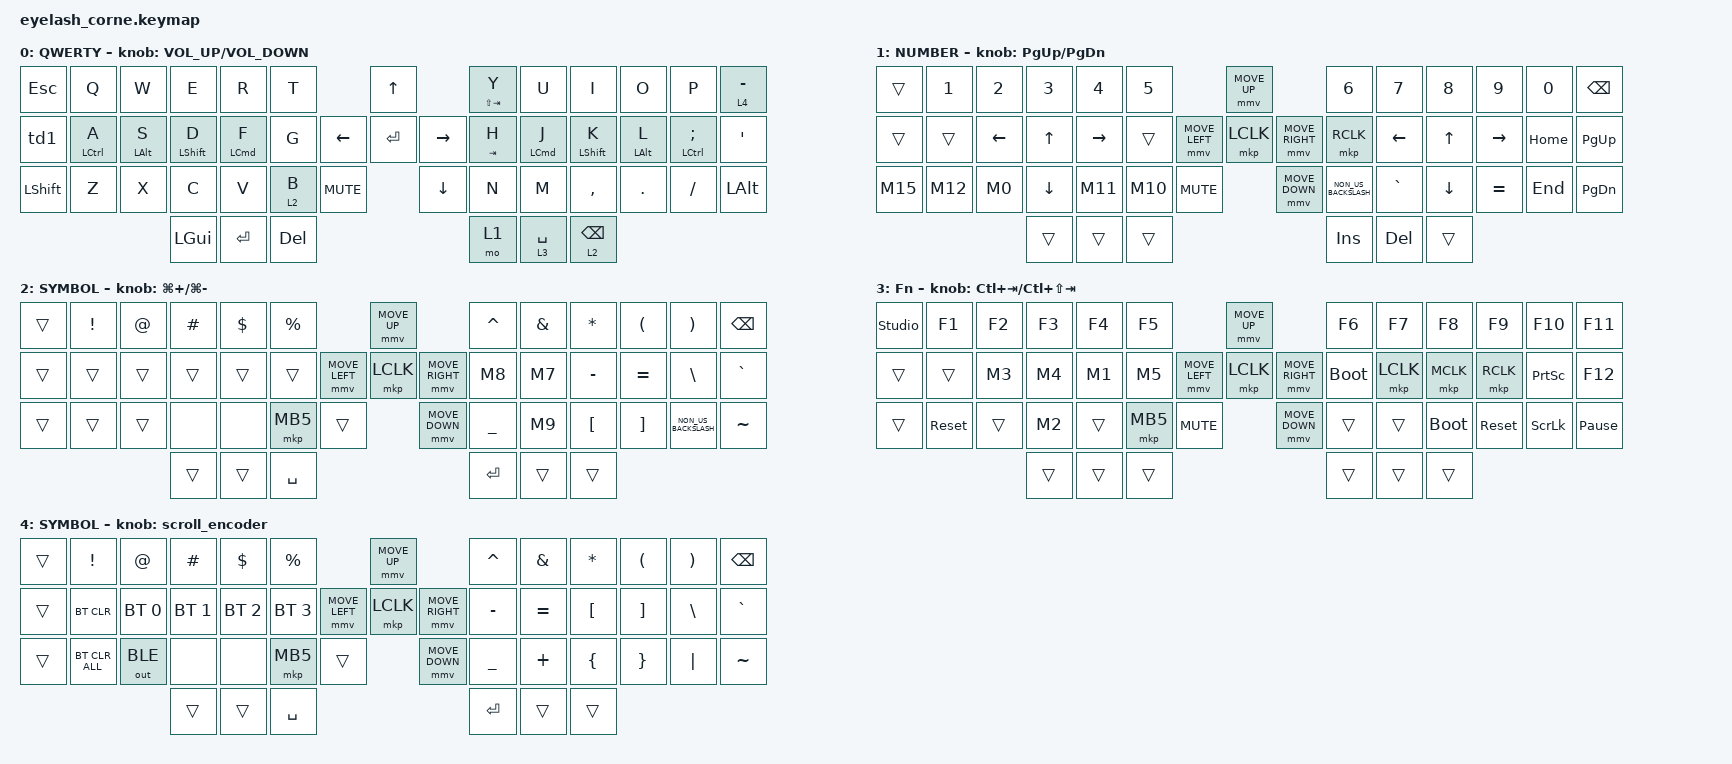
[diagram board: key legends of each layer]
#define ZMK_POINTING_DEFAULT_MOVE_VAL 1200  // 600
#define ZMK_POINTING_DEFAULT_SCRL_VAL 25   // 10

#include <input/processors.dtsi>
#include <zephyr/dt-bindings/input/input-event-codes.h>
#include <behaviors.dtsi>
#include <dt-bindings/zmk/bt.h>
#include <dt-bindings/zmk/keys.h>
#include <dt-bindings/zmk/outputs.h>
#include <dt-bindings/zmk/pointing.h>
#include <dt-bindings/zmk/rgb.h>

&mmv_input_listener { input-processors = <&zip_xy_scaler 2 1>; };

&msc_input_listener { input-processors = <&zip_scroll_scaler 2 1>; };

&msc {
    acceleration-exponent = <1>;      // 0
    time-to-max-speed-ms = <100>;       // 300
    delay-ms = <0>;                   // 0
};

&mmv {
    time-to-max-speed-ms = <500>;
    acceleration-exponent = <1>;
    trigger-period-ms = <16>;
};

&mt { flavor = "tap-preferred"; };

/ {
    behaviors {
        td0: td0 {
            compatible = "zmk,behavior-tap-dance";
            display-name = "Shift/Caps Lock Tap Dance";
            #binding-cells = <0>;
            bindings = <&kp LEFT_SHIFT>, <&kp CAPS>;
        };

        td1: td1 {
            compatible = "zmk,behavior-tap-dance";
            display-name = "Shift/Caps Lock Tap Dance";
            #binding-cells = <0>;
            bindings = <&kp TAB>, <&none>, <&none>, <&none>, <&kp CAPS>;

            label = "TD1";
        };
    };

    rgb_encoder: rgb_encoder {
        compatible = "zmk,behavior-sensor-rotate";
        #sensor-binding-cells = <0>;
        bindings = <&rgb_ug RGB_BRI>, <&rgb_ug RGB_BRD>;
    };

    scroll_encoder: scroll_encoder {
        compatible = "zmk,behavior-sensor-rotate";
        #sensor-binding-cells = <0>;
        bindings = <&msc SCRL_DOWN>, <&msc SCRL_UP>;

        tap-ms = <100>;
    };

    combos {
        compatible = "zmk,combos";

        CmdC {
            bindings = <&kp LG(C)>;
            key-positions = <17 16>;
        };

        CmdV {
            bindings = <&kp LG(V)>;
            key-positions = <16 15>;
        };

        CmdZ {
            bindings = <&kp LG(Z)>;
            key-positions = <14 15>;
        };

        CmdSingleBacktick {
            bindings = <&kp LG(GRAVE)>;
            key-positions = <23 24>;
        };
    };

    macros {
        M14: M14 {
            compatible = "zmk,behavior-macro";
            #binding-cells = <0>;
            bindings = <&kp LA(LG(L))>;
            label = "M14";
        };

        M15: M15 {
            compatible = "zmk,behavior-macro";
            #binding-cells = <0>;
            bindings = <&kp LG(LS(D))>;
            label = "M15";
        };

        M12: M12 {
            compatible = "zmk,behavior-macro";
            #binding-cells = <0>;
            bindings = <&kp LG(GRAVE)>;
            label = "M12";
        };

        M0: M0 {
            compatible = "zmk,behavior-macro";
            #binding-cells = <0>;
            bindings = <&kp LS(LC(TAB))>;
            label = "M0";
        };

        M11: M11 {
            compatible = "zmk,behavior-macro";
            #binding-cells = <0>;
            bindings = <&kp LC(UP_ARROW)>;
            label = "M11";
        };

        M8: M8 {
            compatible = "zmk,behavior-macro";
            #binding-cells = <0>;
            bindings = <&kp LC(RC(Y))>;
            label = "M8";
        };

        M7: M7 {
            compatible = "zmk,behavior-macro";
            #binding-cells = <0>;
            bindings = <&kp LC(RC(U))>;
            label = "M7";
        };

        M9: M9 {
            compatible = "zmk,behavior-macro";
            #binding-cells = <0>;
            bindings = <&kp LC(RC(K))>;
            label = "M9";
        };

        M3: M3 {
            compatible = "zmk,behavior-macro";
            #binding-cells = <0>;
            bindings = <&kp LG(LA(LEFT))>;
            label = "M3";
        };

        M4: M4 {
            compatible = "zmk,behavior-macro";
            #binding-cells = <0>;
            bindings = <&kp LG(LA(RIGHT))>;
            label = "M4";
        };

        M2: M2 {
            compatible = "zmk,behavior-macro";
            #binding-cells = <0>;
            bindings = <&kp LG(LS(LC(NUMBER_4)))>;
            label = "M2";
        };

        M1: M1 {
            compatible = "zmk,behavior-macro";
            #binding-cells = <0>;
            bindings = <&kp LG(LC(LA(F)))>;
            label = "M1";
        };

        M5: M5 {
            compatible = "zmk,behavior-macro";
            #binding-cells = <0>;
            bindings = <&kp LA(LC(LG(RIGHT)))>;
            label = "M5";
        };

        M10: M10 {
            compatible = "zmk,behavior-macro";
            #binding-cells = <0>;
            bindings = <&kp LC(DOWN)>;
            label = "M10";
        };
    };

    keymap {
        compatible = "zmk,keymap";

        default_layer {
            display-name = "QWERTY";
            bindings = <
&kp ESC         &kp Q               &kp W           &kp E             &kp R       &kp T                               &kp UP                &mt LS(TAB) Y  &kp U        &kp I             &kp O           &kp P                  &lt 4 MINUS
&td1            &mt LEFT_CONTROL A  &mt LEFT_ALT S  &mt LEFT_SHIFT D  &mt LCMD F  &kp G                     &kp LEFT  &kp ENTER  &kp RIGHT  &mt TAB H      &mt LCMD J   &mt LEFT_SHIFT K  &mt LEFT_ALT L  &mt LEFT_CONTROL SEMI  &kp SQT
&kp LEFT_SHIFT  &kp Z               &kp X           &kp C             &kp V       &lt 2 B     &kp C_MUTE              &kp DOWN              &kp N          &kp M        &kp COMMA         &kp DOT         &kp FSLH               &kp LEFT_ALT
                                                    &kp LGUI          &kp ENTER   &kp DELETE                                                &mo 1          &lt 3 SPACE  &lt 2 BACKSPACE
            >;

            sensor-bindings = <&inc_dec_kp C_VOLUME_UP C_VOLUME_DOWN>;
        };

        lower_layer {
            display-name = "NUMBER";
            bindings = <
&trans  &kp N1  &kp N2    &kp N3        &kp N4     &kp N5                                &mmv MOVE_UP                     &kp N6                &kp N7     &kp N8    &kp N9     &kp N0    &kp BSPC
&trans  &trans  &kp LEFT  &kp UP_ARROW  &kp RIGHT  &trans                &mmv MOVE_LEFT  &mkp LCLK       &mmv MOVE_RIGHT  &mkp RCLK             &kp LEFT   &kp UP    &kp RIGHT  &kp HOME  &kp PG_UP
&M15    &M12    &M0       &kp DOWN      &M11       &M10    &kp C_MUTE                    &mmv MOVE_DOWN                   &kp NON_US_BACKSLASH  &kp GRAVE  &kp DOWN  &kp EQUAL  &kp END   &kp PG_DN
                          &trans        &trans     &trans                                                                 &kp INS               &kp DEL    &trans
            >;

            sensor-bindings = <&inc_dec_kp PG_UP PAGE_DOWN>;
        };

        raise_layer {
            display-name = "SYMBOL";
            bindings = <
&trans  &kp EXCL  &kp AT  &kp HASH  &kp DLLR  &kp PRCNT                            &mmv MOVE_UP                     &kp CARET  &kp AMPS  &kp ASTRK         &kp LPAR           &kp RPAR              &kp BSPC
&trans  &trans    &trans  &trans    &trans    &trans               &mmv MOVE_LEFT  &mkp LCLK       &mmv MOVE_RIGHT  &M8        &M7       &kp MINUS         &kp EQUAL          &kp BSLH              &kp GRAVE
&trans  &trans    &trans  &none     &none     &mkp MB5   &trans                    &mmv MOVE_DOWN                   &kp UNDER  &M9       &kp LEFT_BRACKET  &kp RIGHT_BRACKET  &kp NON_US_BACKSLASH  &kp TILDE
                          &trans    &trans    &kp SPACE                                                             &kp RET    &trans    &trans
            >;

            sensor-bindings = <&inc_dec_kp LG(PLUS) LG(MINUS)>;
        };

        layer_3 {
            display-name = "Fn";
            bindings = <
&studio_unlock  &kp F1      &kp F2  &kp F3  &kp F4  &kp F5                                  &mmv MOVE_UP                     &kp F6       &kp F7     &kp F8       &kp F9      &kp F10          &kp F11
&trans          &trans      &M3     &M4     &M1     &M5                     &mmv MOVE_LEFT  &mkp LCLK       &mmv MOVE_RIGHT  &bootloader  &mkp LCLK  &mkp MCLK    &mkp RCLK   &kp PRINTSCREEN  &kp F12
&trans          &sys_reset  &trans  &M2     &trans  &mkp MB5  &kp C_MUTE                    &mmv MOVE_DOWN                   &trans       &trans     &bootloader  &sys_reset  &kp SCROLLLOCK   &kp PAUSE_BREAK
                                    &trans  &trans  &trans                                                                   &trans       &trans     &trans
            >;

            sensor-bindings = <&inc_dec_kp LC(TAB) LC(LS(TAB))>;
        };

        layer_4 {
            display-name = "SYMBOL";
            bindings = <
&trans  &kp EXCL        &kp AT        &kp HASH      &kp DLLR      &kp PRCNT                               &mmv MOVE_UP                     &kp CARET  &kp AMPS   &kp ASTRK  &kp LPAR  &kp RPAR  &kp BSPC
&trans  &bt BT_CLR      &bt BT_SEL 0  &bt BT_SEL 1  &bt BT_SEL 2  &bt BT_SEL 3            &mmv MOVE_LEFT  &mkp LCLK       &mmv MOVE_RIGHT  &kp MINUS  &kp EQUAL  &kp LBKT   &kp RBKT  &kp BSLH  &kp GRAVE
&trans  &bt BT_CLR_ALL  &out OUT_BLE  &none         &none         &mkp MB5      &trans                    &mmv MOVE_DOWN                   &kp UNDER  &kp PLUS   &kp LBRC   &kp RBRC  &kp PIPE  &kp TILDE
                                      &trans        &trans        &kp SPACE                                                                &kp RET    &trans     &trans
            >;

            sensor-bindings = <&scroll_encoder>;
        };
    };
};
